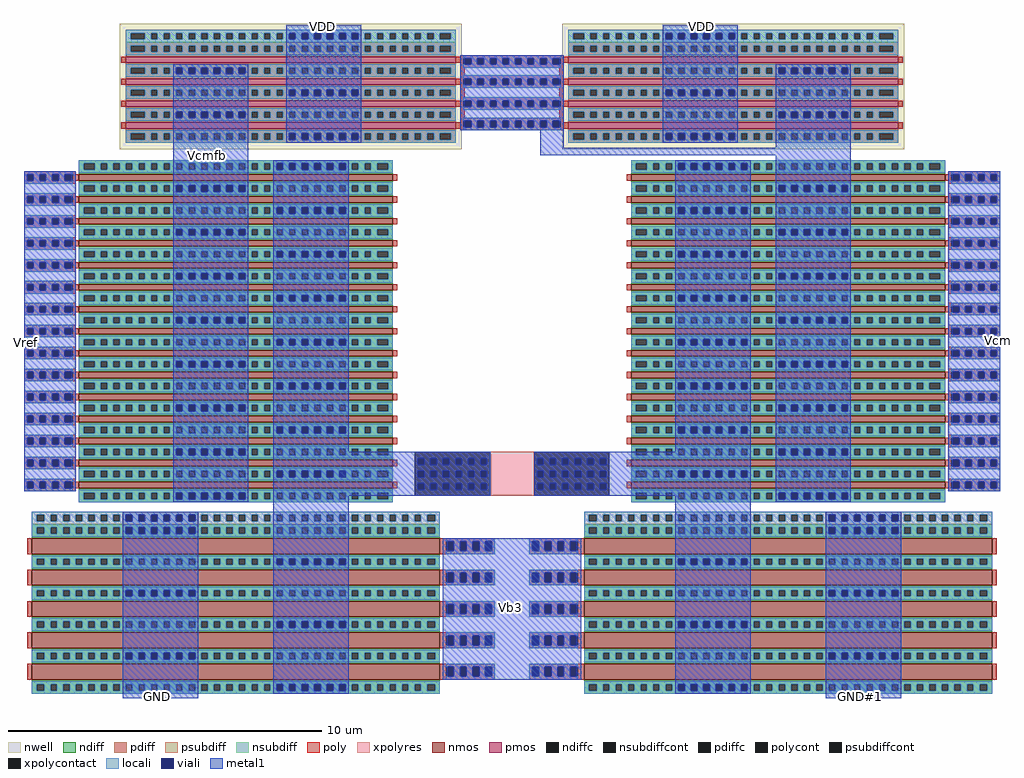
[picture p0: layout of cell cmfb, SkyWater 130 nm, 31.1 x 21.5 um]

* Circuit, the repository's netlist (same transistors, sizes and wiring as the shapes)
.subckt cmfb VDD GND Vcmfb Vref Vb3 Vcm
*.iopin VDD
*.iopin GND
*.opin Vcmfb
*.ipin Vref
*.iopin Vb3
*.ipin Vcm
x1 Vref net2 VDD GND Vb3 net3 Vcmfb cmfb_half
x2 Vcm net1 VDD GND Vb3 net3 net3 cmfb_half
XR20 net2 net1 GND sky130_fd_pr__res_xhigh_po W=1.41 L=1.41 mult=1 m=1
.ends

* expanding   symbol:  tia-sscs-pico-2021/schem/cmfb_half.sym # of pins=7
* sym_path: /home/jared/Documents/GS_Design/tia-sscs-pico-2021/schem/cmfb_half.sym
* sch_path: /home/jared/Documents/GS_Design/tia-sscs-pico-2021/schem/cmfb_half.sch
.subckt cmfb_half  Vin res VDD GND Vb3 diode Vout
*.iopin VDD
*.iopin GND
*.opin Vout
*.ipin Vin
*.iopin diode
*.iopin Vb3
*.iopin res
XM11 Vout Vin res GND sky130_fd_pr__nfet_01v8 L=0.20 W=150 nf=2 ad='int((nf+1)/2) * W/nf * 0.29' as='int((nf+2)/2) * W/nf * 0.29'
+ pd='2*int((nf+1)/2) * (W/nf + 0.29)' ps='2*int((nf+2)/2) * (W/nf + 0.29)' nrd='0.29 / W' nrs='0.29 / W'
+ sa=0 sb=0 sd=0 mult=1 m=1 
XM14 Vout diode VDD VDD sky130_fd_pr__pfet_01v8 L=0.2 W=42 nf=1 ad='int((nf+1)/2) * W/nf * 0.29' as='int((nf+2)/2) * W/nf * 0.29'
+ pd='2*int((nf+1)/2) * (W/nf + 0.29)' ps='2*int((nf+2)/2) * (W/nf + 0.29)' nrd='0.29 / W' nrs='0.29 / W'
+ sa=0 sb=0 sd=0 mult=1 m=1 
XM15 res Vb3 GND GND sky130_fd_pr__nfet_01v8 L=.5 W=65 nf=1 ad='int((nf+1)/2) * W/nf * 0.29' as='int((nf+2)/2) * W/nf * 0.29'
+ pd='2*int((nf+1)/2) * (W/nf + 0.29)' ps='2*int((nf+2)/2) * (W/nf + 0.29)' nrd='0.29 / W' nrs='0.29 / W'
+ sa=0 sb=0 sd=0 mult=1 m=1 
.ends

.GLOBAL GND
** flattened .save nodes
.end

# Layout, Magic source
magic
tech sky130A
<< nwell >>
rect -565 1990 -560 2035
rect -565 1930 -560 1970
rect -565 1860 -560 1900
rect -565 1795 -560 1840
rect -240 1795 -235 2035
<< poly >>
rect -565 2025 -235 2035
rect -565 2005 -555 2025
rect -530 2005 -510 2025
rect -490 2005 -470 2025
rect -450 2005 -430 2025
rect -410 2005 -390 2025
rect -370 2005 -350 2025
rect -330 2005 -310 2025
rect -290 2005 -270 2025
rect -245 2005 -235 2025
rect -565 1995 -235 2005
rect -565 1960 -235 1970
rect -565 1940 -555 1960
rect -530 1940 -510 1960
rect -490 1940 -470 1960
rect -450 1940 -430 1960
rect -410 1940 -390 1960
rect -370 1940 -350 1960
rect -330 1940 -310 1960
rect -290 1940 -270 1960
rect -245 1940 -235 1960
rect -565 1930 -235 1940
rect -565 1890 -235 1900
rect -565 1870 -555 1890
rect -530 1870 -510 1890
rect -490 1870 -470 1890
rect -450 1870 -430 1890
rect -410 1870 -390 1890
rect -370 1870 -350 1890
rect -330 1870 -310 1890
rect -290 1870 -270 1890
rect -245 1870 -235 1890
rect -565 1860 -235 1870
rect -565 1825 -235 1835
rect -565 1805 -555 1825
rect -530 1805 -510 1825
rect -490 1805 -470 1825
rect -450 1805 -430 1825
rect -410 1805 -390 1825
rect -370 1805 -350 1825
rect -330 1805 -310 1825
rect -290 1805 -270 1825
rect -245 1805 -235 1825
rect -565 1795 -235 1805
<< polycont >>
rect -555 2005 -530 2025
rect -510 2005 -490 2025
rect -470 2005 -450 2025
rect -430 2005 -410 2025
rect -390 2005 -370 2025
rect -350 2005 -330 2025
rect -310 2005 -290 2025
rect -270 2005 -245 2025
rect -555 1940 -530 1960
rect -510 1940 -490 1960
rect -470 1940 -450 1960
rect -430 1940 -410 1960
rect -390 1940 -370 1960
rect -350 1940 -330 1960
rect -310 1940 -290 1960
rect -270 1940 -245 1960
rect -555 1870 -530 1890
rect -510 1870 -490 1890
rect -470 1870 -450 1890
rect -430 1870 -410 1890
rect -390 1870 -370 1890
rect -350 1870 -330 1890
rect -310 1870 -290 1890
rect -270 1870 -245 1890
rect -555 1805 -530 1825
rect -510 1805 -490 1825
rect -470 1805 -450 1825
rect -430 1805 -410 1825
rect -390 1805 -370 1825
rect -350 1805 -330 1825
rect -310 1805 -290 1825
rect -270 1805 -245 1825
<< xpolycontact >>
rect -710 630 -470 771
rect -329 630 -90 771
<< xpolyres >>
rect -470 630 -329 771
<< locali >>
rect -555 2025 -245 2035
rect -530 2005 -510 2025
rect -490 2005 -470 2025
rect -450 2005 -430 2025
rect -410 2005 -390 2025
rect -370 2005 -350 2025
rect -330 2005 -310 2025
rect -290 2005 -270 2025
rect -555 1995 -245 2005
rect -555 1960 -245 1970
rect -530 1940 -510 1960
rect -490 1940 -470 1960
rect -450 1940 -430 1960
rect -410 1940 -390 1960
rect -370 1940 -350 1960
rect -330 1940 -310 1960
rect -290 1940 -270 1960
rect -555 1930 -245 1940
rect -555 1890 -245 1900
rect -530 1870 -510 1890
rect -490 1870 -470 1890
rect -450 1870 -430 1890
rect -410 1870 -390 1890
rect -370 1870 -350 1890
rect -330 1870 -310 1890
rect -290 1870 -270 1890
rect -555 1860 -245 1870
rect -555 1825 -245 1835
rect -530 1805 -510 1825
rect -490 1805 -470 1825
rect -450 1805 -430 1825
rect -410 1805 -390 1825
rect -370 1805 -350 1825
rect -330 1805 -310 1825
rect -290 1805 -270 1825
rect -555 1795 -245 1805
<< viali >>
rect -550 2005 -530 2025
rect -510 2005 -490 2025
rect -470 2005 -450 2025
rect -430 2005 -410 2025
rect -390 2005 -370 2025
rect -350 2005 -330 2025
rect -310 2005 -290 2025
rect -270 2005 -250 2025
rect -550 1940 -530 1960
rect -510 1940 -490 1960
rect -470 1940 -450 1960
rect -430 1940 -410 1960
rect -390 1940 -370 1960
rect -350 1940 -330 1960
rect -310 1940 -290 1960
rect -270 1940 -250 1960
rect -550 1870 -530 1890
rect -510 1870 -490 1890
rect -470 1870 -450 1890
rect -430 1870 -410 1890
rect -390 1870 -370 1890
rect -350 1870 -330 1890
rect -310 1870 -290 1890
rect -270 1870 -250 1890
rect -550 1805 -530 1825
rect -510 1805 -490 1825
rect -470 1805 -450 1825
rect -430 1805 -410 1825
rect -390 1805 -370 1825
rect -350 1805 -330 1825
rect -310 1805 -290 1825
rect -270 1805 -250 1825
rect -700 730 -680 750
rect -660 730 -640 750
rect -620 730 -600 750
rect -580 730 -560 750
rect -540 730 -520 750
rect -500 730 -480 750
rect -700 690 -680 710
rect -660 690 -640 710
rect -620 690 -600 710
rect -580 690 -560 710
rect -540 690 -520 710
rect -500 690 -480 710
rect -700 650 -680 670
rect -660 650 -640 670
rect -620 650 -600 670
rect -580 650 -560 670
rect -540 650 -520 670
rect -500 650 -480 670
rect -320 730 -300 750
rect -280 730 -260 750
rect -240 730 -220 750
rect -200 730 -180 750
rect -160 730 -140 750
rect -120 730 -100 750
rect -320 690 -300 710
rect -280 690 -260 710
rect -240 690 -220 710
rect -200 690 -180 710
rect -160 690 -140 710
rect -120 690 -100 710
rect -320 650 -300 670
rect -280 650 -260 670
rect -240 650 -220 670
rect -200 650 -180 670
rect -160 650 -140 670
rect -120 650 -100 670
<< metal1 >>
rect -1010 2120 -1000 2130
rect 200 2120 210 2130
rect -565 2025 -235 2035
rect -565 2005 -550 2025
rect -530 2005 -510 2025
rect -490 2005 -470 2025
rect -450 2005 -430 2025
rect -410 2005 -390 2025
rect -370 2005 -350 2025
rect -330 2005 -310 2025
rect -290 2005 -270 2025
rect -250 2005 -235 2025
rect -565 1960 -235 2005
rect -565 1940 -550 1960
rect -530 1940 -510 1960
rect -490 1940 -470 1960
rect -450 1940 -430 1960
rect -410 1940 -390 1960
rect -370 1940 -350 1960
rect -330 1940 -310 1960
rect -290 1940 -270 1960
rect -250 1940 -235 1960
rect -565 1890 -235 1940
rect -565 1870 -550 1890
rect -530 1870 -510 1890
rect -490 1870 -470 1890
rect -450 1870 -430 1890
rect -410 1870 -390 1890
rect -370 1870 -350 1890
rect -330 1870 -310 1890
rect -290 1870 -270 1890
rect -250 1870 -235 1890
rect -565 1825 -235 1870
rect -565 1805 -550 1825
rect -530 1805 -510 1825
rect -490 1805 -470 1825
rect -450 1805 -430 1825
rect -410 1805 -390 1825
rect -370 1805 -350 1825
rect -330 1805 -310 1825
rect -290 1805 -270 1825
rect -250 1805 -235 1825
rect -565 1795 -235 1805
rect -310 1740 -235 1795
rect -1375 1710 -1365 1720
rect -310 1715 450 1740
rect -1955 1115 -1945 1125
rect 1145 1120 1155 1130
rect -950 750 -470 771
rect -950 730 -700 750
rect -680 730 -660 750
rect -640 730 -620 750
rect -600 730 -580 750
rect -560 730 -540 750
rect -520 730 -500 750
rect -480 730 -470 750
rect -950 710 -470 730
rect -950 690 -700 710
rect -680 690 -660 710
rect -640 690 -620 710
rect -600 690 -580 710
rect -560 690 -540 710
rect -520 690 -500 710
rect -480 690 -470 710
rect -950 670 -470 690
rect -950 650 -700 670
rect -680 650 -660 670
rect -640 650 -620 670
rect -600 650 -580 670
rect -560 650 -540 670
rect -520 650 -500 670
rect -480 650 -470 670
rect -950 630 -470 650
rect -329 750 125 771
rect -329 730 -320 750
rect -300 730 -280 750
rect -260 730 -240 750
rect -220 730 -200 750
rect -180 730 -160 750
rect -140 730 -120 750
rect -100 730 125 750
rect -329 710 125 730
rect -329 690 -320 710
rect -300 690 -280 710
rect -260 690 -240 710
rect -220 690 -200 710
rect -180 690 -160 710
rect -140 690 -120 710
rect -100 690 125 710
rect -329 670 125 690
rect -329 650 -320 670
rect -300 650 -280 670
rect -260 650 -240 670
rect -220 650 -200 670
rect -180 650 -160 670
rect -140 650 -120 670
rect -100 650 125 670
rect -329 630 125 650
rect -500 45 -300 495
rect -1535 -15 -1525 -5
rect 705 -15 715 -5
use cmfb_half  cmfb_half_1
transform -1 0 -765 0 1 1205
box -310 -1220 1190 930
use cmfb_half  cmfb_half_0
transform 1 0 -35 0 1 1205
box -310 -1220 1190 930
<< labels >>
rlabel metal1 -405 275 -405 275 1 Vb3
port 13 n
rlabel metal1 -1950 1120 -1950 1120 1 Vref
port 14 n
rlabel metal1 1150 1125 1150 1125 1 Vcm
port 15 n
rlabel metal1 710 -10 710 -10 1 GND#1
port 16 n
rlabel metal1 -1530 -10 -1530 -10 1 GND
port 17 n
rlabel metal1 -1005 2125 -1005 2125 1 VDD
port 18 n
rlabel metal1 -1370 1715 -1370 1715 1 Vcmfb
port 20 n
rlabel metal1 205 2125 205 2125 1 VDD
port 18 n
<< end >>

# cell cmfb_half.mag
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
